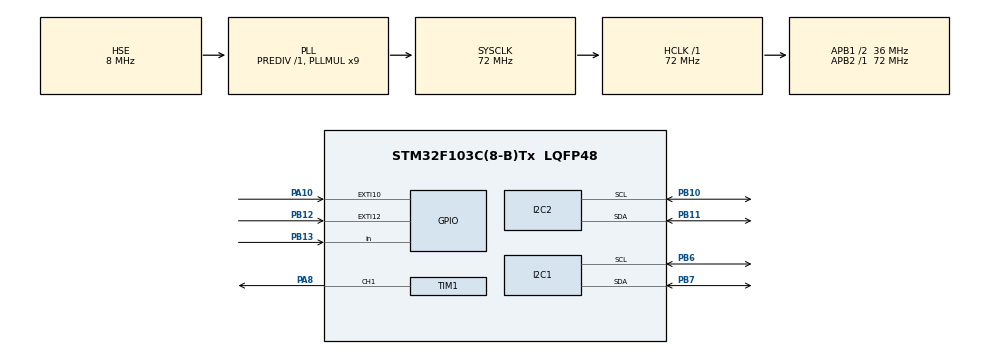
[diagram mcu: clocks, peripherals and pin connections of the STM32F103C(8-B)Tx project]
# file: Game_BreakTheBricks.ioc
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FREERTOS.Tasks01=defaultTask,24,128,StartDefaultTask,Default,NULL,Dynamic,NULL,NULL
FREERTOS.configTOTAL_HEAP_SIZE=8000
Mcu.Family=STM32F1
Mcu.Name=STM32F103C(8-B)Tx
Mcu.Package=LQFP48
NVIC.EXTI15_10_IRQn=true\:5\:0\:false\:false\:true\:true\:true\:true\:true
NVIC.PriorityGroup=NVIC_PRIORITYGROUP_4
NVIC.TIM4_IRQn=true\:15\:0\:false\:false\:true\:false\:false\:true\:true
NVIC.TimeBase=TIM4_IRQn
NVIC.TimeBaseIP=TIM4
PA10.GPIO_ModeDefaultEXTI=GPIO_MODE_IT_RISING_FALLING
PA10.Signal=GPXTI10
PA13.Mode=Serial_Wire
PA13.Signal=SYS_JTMS-SWDIO
PA14.Mode=Serial_Wire
PA14.Signal=SYS_JTCK-SWCLK
PA8.Signal=S_TIM1_CH1
PB10.Mode=I2C
PB10.Signal=I2C2_SCL
PB11.Mode=I2C
PB11.Signal=I2C2_SDA
PB12.Signal=GPXTI12
PB13.GPIO_PuPd=GPIO_PULLUP
PB13.Signal=GPIO_Input
PB6.Mode=I2C
PB6.Signal=I2C1_SCL
PB7.Mode=I2C
PB7.Signal=I2C1_SDA
PC14-OSC32_IN.Mode=LSE-External-Oscillator
PC14-OSC32_IN.Signal=RCC_OSC32_IN
PC15-OSC32_OUT.Mode=LSE-External-Oscillator
PC15-OSC32_OUT.Signal=RCC_OSC32_OUT
PD0-OSC_IN.Mode=HSE-External-Oscillator
PD0-OSC_IN.Signal=RCC_OSC_IN
PD1-OSC_OUT.Mode=HSE-External-Oscillator
PD1-OSC_OUT.Signal=RCC_OSC_OUT
ProjectManager.HeapSize=0x200
ProjectManager.StackSize=0x400
ProjectManager.TargetToolchain=MDK-ARM V5.32
RCC.AHBFreq_Value=72000000
RCC.APB1CLKDivider=RCC_HCLK_DIV2
RCC.APB1Freq_Value=36000000
RCC.APB1TimFreq_Value=72000000
RCC.APB2Freq_Value=72000000
RCC.APB2TimFreq_Value=72000000
RCC.HCLKFreq_Value=72000000
RCC.PLLMUL=RCC_PLL_MUL9
RCC.PLLSourceVirtual=RCC_PLLSOURCE_HSE
RCC.SYSCLKFreq_VALUE=72000000
RCC.SYSCLKSource=RCC_SYSCLKSOURCE_PLLCLK
RCC.USBFreq_Value=72000000
SH.S_TIM1_CH1.0=TIM1_CH1,PWM Generation1 CH1
TIM1.Channel-PWM\ Generation1\ CH1=TIM_CHANNEL_1
TIM1.Period=1000-1
TIM1.Prescaler=72-1
TIM1.Pulse-PWM\ Generation1\ CH1=499
VP_FREERTOS_VS_CMSIS_V2.Mode=CMSIS_V2
VP_SYS_VS_tim4.Mode=TIM4
VP_TIM1_VS_ClockSourceINT.Mode=Internal
board=custom

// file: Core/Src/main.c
/* USER CODE BEGIN Header */
/**
  ******************************************************************************
  * @file           : main.c
  * @brief          : Main program body
  ******************************************************************************
  * @attention
  *
  * Copyright (c) 2025 STMicroelectronics.
  * All rights reserved.
  *
  * This software is licensed under terms that can be found in the LICENSE file
  * in the root directory of this software component.
  * If no LICENSE file comes with this software, it is provided AS-IS.
  *
  ******************************************************************************
  */
/* USER CODE END Header */
#include "main.h"
#include "cmsis_os.h"
#include "i2c.h"
#include "tim.h"
#include "gpio.h"

/* USER CODE BEGIN Includes */
#include "game.h"
/* USER CODE END Includes */

void SystemClock_Config(void);
void MX_FREERTOS_Init(void);

int main(void)
{

  /* MCU Configuration--------------------------------------------------------*/

  /* Reset of all peripherals, Initializes the Flash interface and the Systick. */
  HAL_Init();

  /* Configure the system clock */
  SystemClock_Config();

  /* Initialize all configured peripherals */
  MX_GPIO_Init();
  MX_I2C1_Init();
  MX_I2C2_Init();
  MX_TIM1_Init();

  /* Init scheduler */
  osKernelInitialize();

  /* Call init function for freertos objects (in cmsis_os2.c) */
  MX_FREERTOS_Init();

  /* Start scheduler */
  osKernelStart();

  /* We should never get here as control is now taken by the scheduler */

  /* Infinite loop */
  while (1)
  {

  }
}

void SystemClock_Config(void)
{
  RCC_OscInitTypeDef RCC_OscInitStruct = {0};
  RCC_ClkInitTypeDef RCC_ClkInitStruct = {0};

  /** Initializes the RCC Oscillators according to the specified parameters
  * in the RCC_OscInitTypeDef structure.
  */
  RCC_OscInitStruct.OscillatorType = RCC_OSCILLATORTYPE_HSE;
  RCC_OscInitStruct.HSEState = RCC_HSE_ON;
  RCC_OscInitStruct.HSEPredivValue = RCC_HSE_PREDIV_DIV1;
  RCC_OscInitStruct.HSIState = RCC_HSI_ON;
  RCC_OscInitStruct.PLL.PLLState = RCC_PLL_ON;
  RCC_OscInitStruct.PLL.PLLSource = RCC_PLLSOURCE_HSE;
  RCC_OscInitStruct.PLL.PLLMUL = RCC_PLL_MUL9;
  if (HAL_RCC_OscConfig(&RCC_OscInitStruct) != HAL_OK)
  {
    Error_Handler();
  }

  /** Initializes the CPU, AHB and APB buses clocks
  */
  RCC_ClkInitStruct.ClockType = RCC_CLOCKTYPE_HCLK|RCC_CLOCKTYPE_SYSCLK
                              |RCC_CLOCKTYPE_PCLK1|RCC_CLOCKTYPE_PCLK2;
  RCC_ClkInitStruct.SYSCLKSource = RCC_SYSCLKSOURCE_PLLCLK;
  RCC_ClkInitStruct.AHBCLKDivider = RCC_SYSCLK_DIV1;
  RCC_ClkInitStruct.APB1CLKDivider = RCC_HCLK_DIV2;
  RCC_ClkInitStruct.APB2CLKDivider = RCC_HCLK_DIV1;

  if (HAL_RCC_ClockConfig(&RCC_ClkInitStruct, FLASH_LATENCY_2) != HAL_OK)
  {
    Error_Handler();
  }
}

void HAL_TIM_PeriodElapsedCallback(TIM_HandleTypeDef *htim)
{
  if (htim->Instance == TIM4) {
    HAL_IncTick();
  }
}

void Error_Handler(void)
{
  __disable_irq();
  while (1)
  {
  }
}

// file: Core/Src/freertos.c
/* USER CODE BEGIN Header */
/**
  ******************************************************************************
  * File Name          : freertos.c
  * Description        : Code for freertos applications
  ******************************************************************************
  * @attention
  *
  * Copyright (c) 2025 STMicroelectronics.
  * All rights reserved.
  *
  * This software is licensed under terms that can be found in the LICENSE file
  * in the root directory of this software component.
  * If no LICENSE file comes with this software, it is provided AS-IS.
  *
  ******************************************************************************
  */
/* USER CODE END Header */

#include "FreeRTOS.h"
#include "task.h"
#include "main.h"
#include "cmsis_os.h"

/* USER CODE BEGIN Includes */
#include "semphr.h"
#include "driver_oled_hardware.h"
#include "driver_timer.h"
#include "driver_rotary_encoder.h"
#include "driver_mpu6050.h"
#include "game.h"
#include "driver_ir_receiver.h"
#include "driver_buzzer.h"
/* USER CODE END Includes */

/* USER CODE BEGIN Variables */
static SemaphoreHandle_t g_xI2CMutex;
/* USER CODE END Variables */
/* Definitions for defaultTask */
osThreadId_t defaultTaskHandle;
const osThreadAttr_t defaultTask_attributes = {
  .name = "defaultTask",
  .stack_size = 128 * 4,
  .priority = (osPriority_t) osPriorityNormal,
};

void StartDefaultTask(void *argument);

void MX_FREERTOS_Init(void); /* (MISRA C 2004 rule 8.1) */

void MX_FREERTOS_Init(void) {
  /* USER CODE BEGIN Init */
  g_xI2CMutex = xSemaphoreCreateMutex();
  OLED_Init();
  OLED_Clear();

  RotaryEncoder_Init();
  MPU6050_Init();
  IRReceiver_Init();
  Buzzer_Init();
  // id = MPU6050_GetID();
  // OLED_ShowSignedNum(1, 1, id, 6);
  OLED_ShowString(0, 0, "Starting");
  /* USER CODE END Init */

  /* Create the thread(s) */
  /* creation of defaultTask */
  defaultTaskHandle = osThreadNew(StartDefaultTask, NULL, &defaultTask_attributes);

  /* USER CODE BEGIN RTOS_THREADS */
  /* add threads, ... */

  xTaskCreate(game_task, "GameTask", 128, NULL, osPriorityNormal, NULL);

  /* USER CODE END RTOS_THREADS */

}

void StartDefaultTask(void *argument)
{
  for(;;)
  {
    osDelay(1);
  }
}

/* USER CODE BEGIN Application */
void CaptureI2C(void){
  xSemaphoreTake(g_xI2CMutex, portMAX_DELAY);
}

void ReleaseI2C(void){
  xSemaphoreGive(g_xI2CMutex);
}
/* USER CODE END Application */
